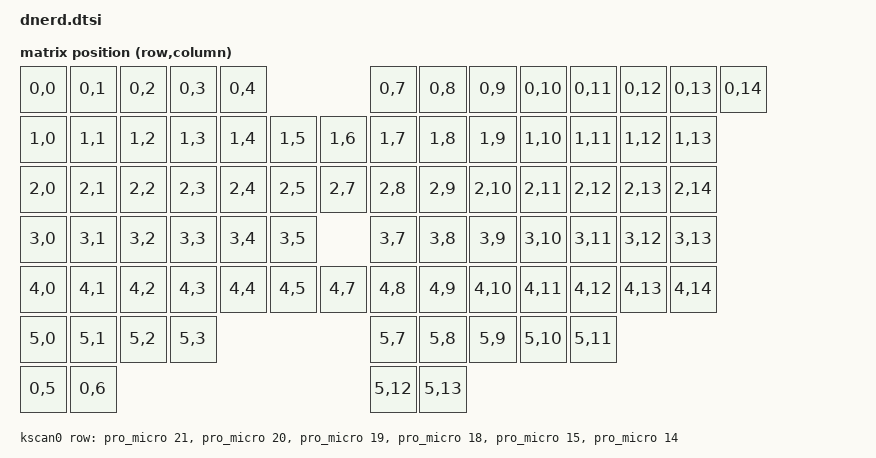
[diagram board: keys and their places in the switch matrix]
/*
 * DNerd-style Korean split keyboard, wired (TRRS/UART) split.
 * Controller: SuperMini nRF52840 (pro-micro pinout, build as nice_nano_v2).
 * Matrix col2row: col -> switch -> diode anode, cathode (band) -> row.
 *   cols: D4 D5 D6 D7 D8 D9 D10 D16   (right half uses all 8, left uses 7)
 *   rows: D21 D20 D19 D18 D15 D14
 *   split UART: TX = D1, RX = D0 (pro_micro_serial), crossed on the right PCB.
 */
#include <dt-bindings/zmk/matrix_transform.h>

/ {
    chosen {
        zmk,physical-layout = &default_layout;
    };

    default_layout: default_layout {
        compatible = "zmk,physical-layout";
        display-name = "Default";
        transform = <&default_transform>;
        kscan = <&kscan0>;
    };

    default_transform: keymap_transform_0 {
        compatible = "zmk,matrix-transform";
        columns = <15>;
        rows = <6>;
        // Left: cols 0-6, right: cols 7-14 (col-offset 7 in right overlay).
        map = <
// F row:  Esc F1 F2 F3 F4 | F5 F6 F7 F8 F9 F10 F11 F12
RC(0,0) RC(0,1) RC(0,2) RC(0,3) RC(0,4)                  RC(0,7) RC(0,8) RC(0,9) RC(0,10) RC(0,11) RC(0,12) RC(0,13) RC(0,14)
// num:   ` 1 2 3 4 5 6 | 7 8 9 0 - = Bksp
RC(1,0) RC(1,1) RC(1,2) RC(1,3) RC(1,4) RC(1,5) RC(1,6)  RC(1,7) RC(1,8) RC(1,9) RC(1,10) RC(1,11) RC(1,12) RC(1,13)
// top:   Tab Q W E R T | Y U I O P [ ] \
RC(2,0) RC(2,1) RC(2,2) RC(2,3) RC(2,4) RC(2,5)          RC(2,7) RC(2,8) RC(2,9) RC(2,10) RC(2,11) RC(2,12) RC(2,13) RC(2,14)
// home:  Caps A S D F G | H J K L ; ' Enter
RC(3,0) RC(3,1) RC(3,2) RC(3,3) RC(3,4) RC(3,5)          RC(3,7) RC(3,8) RC(3,9) RC(3,10) RC(3,11) RC(3,12) RC(3,13)
// bot:   LShift Z X C V B | B N M , . / RShift Up
RC(4,0) RC(4,1) RC(4,2) RC(4,3) RC(4,4) RC(4,5)          RC(4,7) RC(4,8) RC(4,9) RC(4,10) RC(4,11) RC(4,12) RC(4,13) RC(4,14)
// mods:  LCtrl LWin LAlt RAlt | RWin RCtrl Left Down Right
RC(5,0) RC(5,1) RC(5,2) RC(5,3)                          RC(5,7) RC(5,8) RC(5,9) RC(5,10) RC(5,11)
// thumbs: L1 L2 | R1 R2
RC(0,5) RC(0,6)                                          RC(5,12) RC(5,13)
        >;
    };

    kscan0: kscan {
        compatible = "zmk,kscan-gpio-matrix";
        wakeup-source;
        diode-direction = "col2row";
        row-gpios
            = <&pro_micro 21 (GPIO_ACTIVE_HIGH | GPIO_PULL_DOWN)>
            , <&pro_micro 20 (GPIO_ACTIVE_HIGH | GPIO_PULL_DOWN)>
            , <&pro_micro 19 (GPIO_ACTIVE_HIGH | GPIO_PULL_DOWN)>
            , <&pro_micro 18 (GPIO_ACTIVE_HIGH | GPIO_PULL_DOWN)>
            , <&pro_micro 15 (GPIO_ACTIVE_HIGH | GPIO_PULL_DOWN)>
            , <&pro_micro 14 (GPIO_ACTIVE_HIGH | GPIO_PULL_DOWN)>
            ;
    };

    wired_split {
        compatible = "zmk,wired-split";
        device = <&pro_micro_serial>;
    };
};

&pro_micro_serial {
    status = "okay";
};
